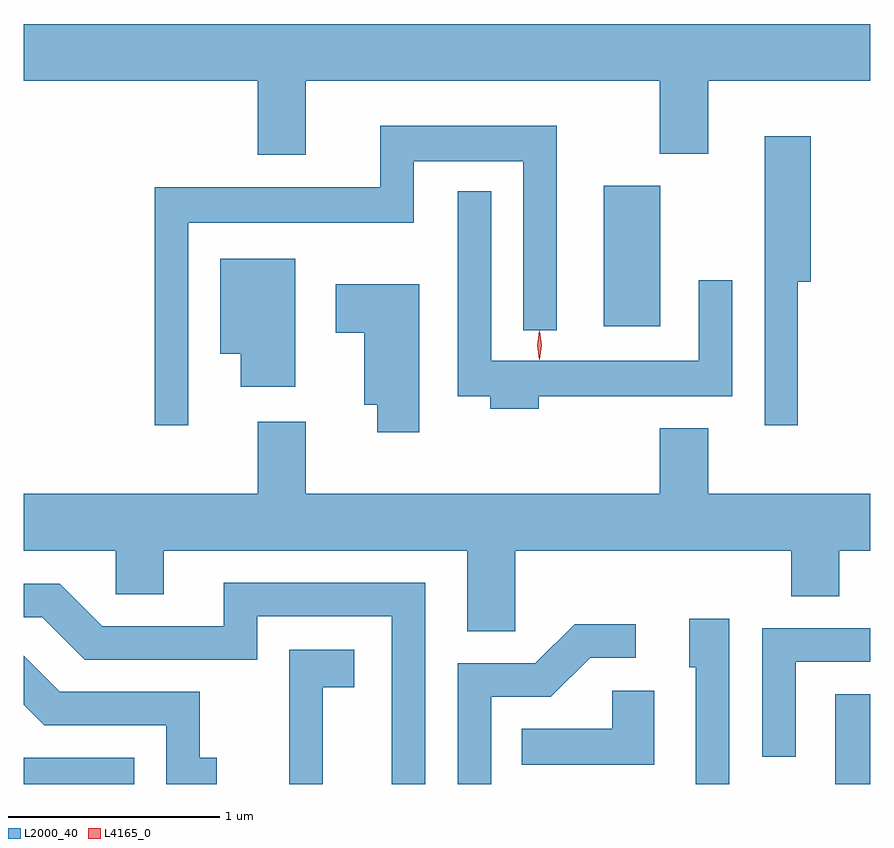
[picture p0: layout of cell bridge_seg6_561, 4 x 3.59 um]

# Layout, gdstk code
import gdstk
lib = gdstk.Library(unit=1e-6, precision=1e-09)
def R(c, l, rs):  # rectangles x0, y0, x1, y1
    for r in rs: c.add(gdstk.rectangle(r[:2], r[2:], *l))
def P(c, l, *ps):  # polygons
    for p in ps: c.add(gdstk.Polygon(p, *l))
L2000_40 = (2000, 40)
L4165_0 = (4165, 0)

bridge_seg6_561 = lib.new_cell('bridge_seg6_561')
R(bridge_seg6_561, L2000_40, [(439.696,1631.074,440.219,1631.199), (443.531,1631.074,443.696,1631.499), (442.436,1633.236,442.704,1633.899)])
P(bridge_seg6_561, L2000_40, [(441.029,1634.396),(442.701,1634.396),(442.701,1634.051),(442.929,1634.051),(442.929,1634.396),(443.696,1634.396),(443.696,1634.664),(439.696,1634.664),(439.696,1634.396),(440.801,1634.396),(440.801,1634.046),(441.029,1634.046)],
  [(440.474,1633.726),(441.539,1633.726),(441.539,1634.016),(442.056,1634.016),(442.056,1633.218),(442.214,1633.218),(442.214,1634.184),(441.381,1634.184),(441.381,1633.894),(440.316,1633.894),(440.316,1632.768),(440.474,1632.768)],
  [(443.354,1633.446),(443.414,1633.446),(443.414,1634.134),(443.196,1634.134),(443.196,1632.768),(443.354,1632.768)],
  [(442.129,1632.906),(443.044,1632.906),(443.044,1633.453),(442.886,1633.453),(442.886,1633.074),(441.904,1633.074),(441.904,1633.873),(441.746,1633.873),(441.746,1632.906),(441.901,1632.906),(441.901,1632.846),(442.129,1632.846)],
  [(440.979,1633.554),(440.626,1633.554),(440.626,1633.106),(440.721,1633.106),(440.721,1632.951),(440.979,1632.951)],
  [(441.564,1633.434),(441.171,1633.434),(441.171,1633.206),(441.306,1633.206),(441.306,1632.866),(441.366,1632.866),(441.366,1632.736),(441.564,1632.736)],
  [(442.929,1632.754),(442.701,1632.754),(442.701,1632.444),(441.029,1632.444),(441.029,1632.784),(440.801,1632.784),(440.801,1632.444),(439.696,1632.444),(439.696,1632.176),(440.131,1632.176),(440.131,1631.971),(440.359,1631.971),(440.359,1632.176),(441.791,1632.176),(441.791,1631.796),(442.019,1631.796),(442.019,1632.176),(443.321,1632.176),(443.321,1631.961),(443.549,1631.961),(443.549,1632.176),(443.696,1632.176),(443.696,1632.444),(442.929,1632.444)],
  [(441.594,1632.024),(440.641,1632.024),(440.641,1631.819),(440.067,1631.819),(439.867,1632.019),(439.696,1632.019),(439.696,1631.861),(439.784,1631.861),(439.984,1631.661),(440.799,1631.661),(440.799,1631.866),(441.436,1631.866),(441.436,1631.074),(441.594,1631.074)],
  [(443.029,1631.854),(442.841,1631.854),(442.841,1631.626),(442.871,1631.626),(442.871,1631.074),(443.029,1631.074)],
  [(441.904,1631.486),(442.187,1631.486),(442.372,1631.671),(442.588,1631.671),(442.588,1631.829),(442.299,1631.829),(442.114,1631.644),(441.746,1631.644),(441.746,1631.074),(441.904,1631.074)],
  [(443.344,1631.651),(443.696,1631.651),(443.696,1631.809),(443.186,1631.809),(443.186,1631.203),(443.344,1631.203)],
  [(441.109,1631.531),(441.259,1631.531),(441.259,1631.709),(440.951,1631.709),(440.951,1631.074),(441.109,1631.074)],
  [(440.608,1631.199),(440.529,1631.199),(440.529,1631.509),(439.867,1631.509),(439.696,1631.68),(439.696,1631.449),(439.794,1631.351),(440.371,1631.351),(440.371,1631.074),(440.608,1631.074)],
  [(442.674,1631.514),(442.476,1631.514),(442.476,1631.334),(442.048,1631.334),(442.048,1631.166),(442.674,1631.166)])
P(bridge_seg6_561, L4165_0, [(442.132,1633.077),(442.131,1633.078),(442.122,1633.147),(442.131,1633.216),(442.132,1633.216),(442.132,1633.216),(442.142,1633.147),(442.132,1633.078)],
  [(442.135,1633.079),(442.134,1633.08),(442.125,1633.146),(442.134,1633.212),(442.134,1633.213),(442.135,1633.212),(442.144,1633.146),(442.135,1633.08)])

lib.write_gds('bridge_seg6_561.gds')
